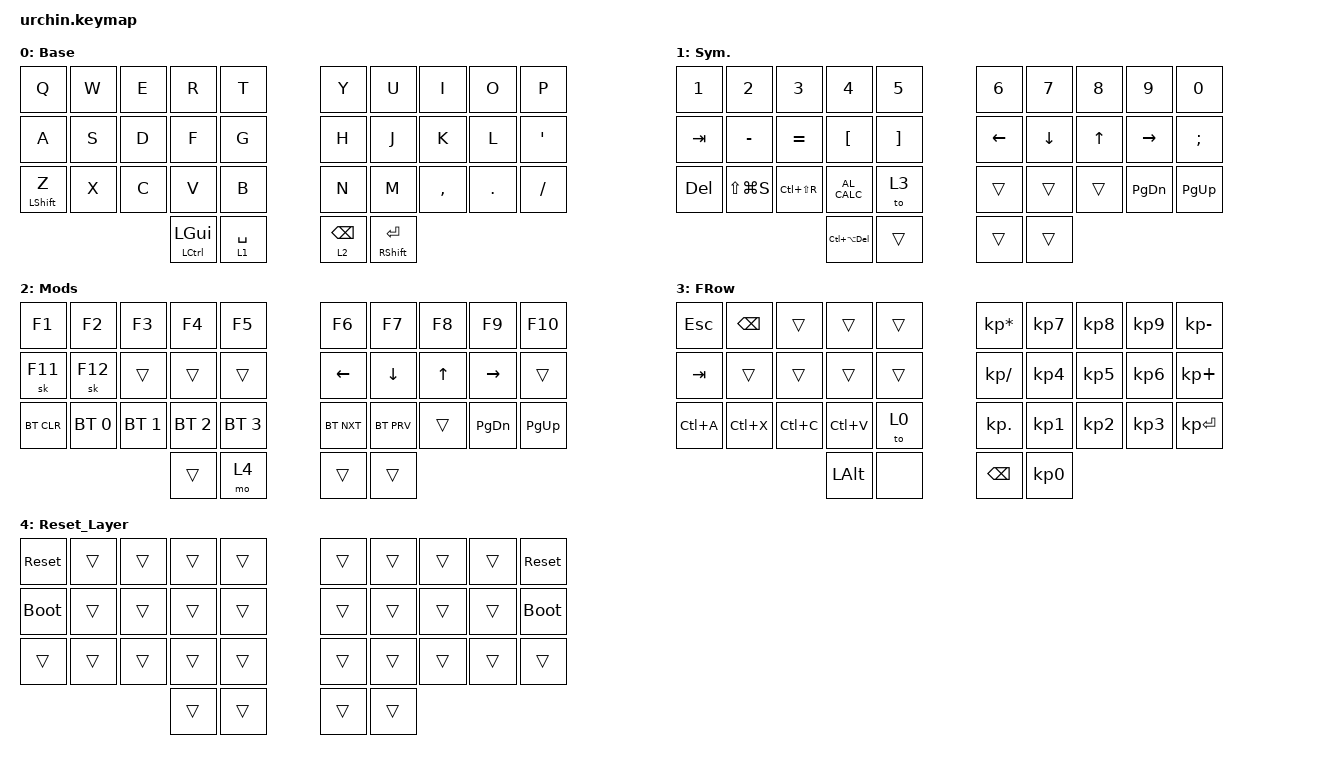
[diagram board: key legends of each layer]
/*
 * Copyright (c) 2020 duckyb
 *
 * SPDX-License-Identifier: MIT
 */

#include "keymap_italian.h"
#include <behaviors.dtsi>
#include <dt-bindings/zmk/bt.h>
#include <dt-bindings/zmk/keys.h>

// Layer definitions

#define BASE 0
#define SYM 1
#define EXT 2
#define FNC 3
#define SYM2 4
#define ACCENT 5
#define SETTINGS 6

// -----------------

&sk {
    // don't release mods on other mods presses

    ignore-modifiers;
};

/ {
    behaviors {
        // Enables holding the first mod-tap key
        // by performing a tap-release-hold sequence.
        // To use it: "&qt KEYCODE1 KEYCODE2"

        qt: quick_tap {
            compatible = "zmk,behavior-hold-tap";
            label = "QUICK_TAP";
            #binding-cells = <2>;
            flavor = "hold-preferred";
            tapping-term-ms = <200>;
            quick-tap-ms = <200>;
            bindings = <&kp>, <&kp>;
        };
    };

    macros {
        // sometimes my device thinks a modifier is being held down
        // pressing all modifiers fixes it.

        M1: M1 {
            compatible = "zmk,behavior-macro";
            #binding-cells = <0>;
            bindings = <&kp LC(LA(DELETE))>;
            label = "M1";
        };
    };

    combos {
        compatible = "zmk,combos";

        // both right thumb keys
        // internal-left & external-right thumb keys
        // both left thumb keys
        // left index & middle fingers (home-row)
        // hold control & space for Adobe workflow

        Esc {
            bindings = <&kp ESCAPE>;
            key-positions = <0 1>;
        };
    };

    keymap {
        compatible = "zmk,keymap";

        // Base alpha layer

        default_layer {
            label = "Base";
            bindings = <
&kp Q          &kp W    &kp E    &kp R             &kp T          &kp Y              &kp U              &kp I        &kp O      &kp P
&kp A          &kp S    &kp D    &kp F             &kp G          &kp H              &kp J              &kp K        &kp L      &kp APOS
&mt LSHFT Z    &kp X    &kp C    &kp V             &kp B          &kp N              &kp M              &kp COMMA    &kp DOT    &kp SLASH
                                 &mt LCTRL LGUI    &lt 1 SPACE    &lt 2 BACKSPACE    &mt RSHFT ENTER
            >;
        };

        // Numbers and high frequency symbols

        sym_layer {
            label = "Sym.";
            bindings = <
&kp N1        &kp N2           &kp N3           &kp N4                &kp N5               &kp N6      &kp N7      &kp N8          &kp N9           &kp N0
&kp TAB       &kp MINUS        &kp EQUAL        &kp LEFT_BRACKET      &kp RIGHT_BRACKET    &kp LEFT    &kp DOWN    &kp UP_ARROW    &kp RIGHT        &kp SEMI
&kp DELETE    &kp LS(LG(S))    &kp LC(LS(R))    &kp C_AL_CALC         &to 3                &trans      &trans      &trans          &kp PAGE_DOWN    &kp PAGE_UP
                                                &kp LC(LA(DELETE))    &trans               &trans      &trans
            >;
        };

        // Main modifiers and arrow keys

        ext_layer {
            label = "Mods";
            bindings = <
&kp F1        &kp F2          &kp F3          &kp F4          &kp F5          &kp F6        &kp F7        &kp F8          &kp F9           &kp F10
&sk F11       &sk F12         &trans          &trans          &trans          &kp LEFT      &kp DOWN      &kp UP_ARROW    &kp RIGHT        &trans
&bt BT_CLR    &bt BT_SEL 0    &bt BT_SEL 1    &bt BT_SEL 2    &bt BT_SEL 3    &bt BT_NXT    &bt BT_PRV    &trans          &kp PAGE_DOWN    &kp PAGE_UP
                                              &trans          &mo 4           &trans        &trans
            >;
        };

        // Function keys with modifiers

        fnc_layer {
            label = "FRow";
            bindings = <
&kp ESCAPE    &kp BACKSPACE    &trans       &trans          &trans    &kp KP_MULTIPLY    &kp KP_NUMBER_7    &kp KP_NUMBER_8    &kp KP_NUMBER_9    &kp KP_MINUS
&kp TAB       &trans           &trans       &trans          &trans    &kp KP_SLASH       &kp KP_NUMBER_4    &kp KP_NUMBER_5    &kp KP_NUMBER_6    &kp KP_PLUS
&kp LC(A)     &kp LC(X)        &kp LC(C)    &kp LC(V)       &to 0     &kp KP_DOT         &kp KP_NUMBER_1    &kp KP_NUMBER_2    &kp KP_NUMBER_3    &kp KP_ENTER
                                            &kp LEFT_ALT    &none     &kp BACKSPACE      &kp KP_NUMBER_0
            >;
        };

        Reset_Layer {
            bindings = <
&sys_reset     &trans    &trans    &trans    &trans    &trans    &trans    &trans    &trans    &sys_reset
&bootloader    &trans    &trans    &trans    &trans    &trans    &trans    &trans    &trans    &bootloader
&trans         &trans    &trans    &trans    &trans    &trans    &trans    &trans    &trans    &trans
                                   &trans    &trans    &trans    &trans
            >;
        };

        // Low frequency symbols.
        // Used to type regional accents.
        // Used to change the keyboard's settings.
    };
};
